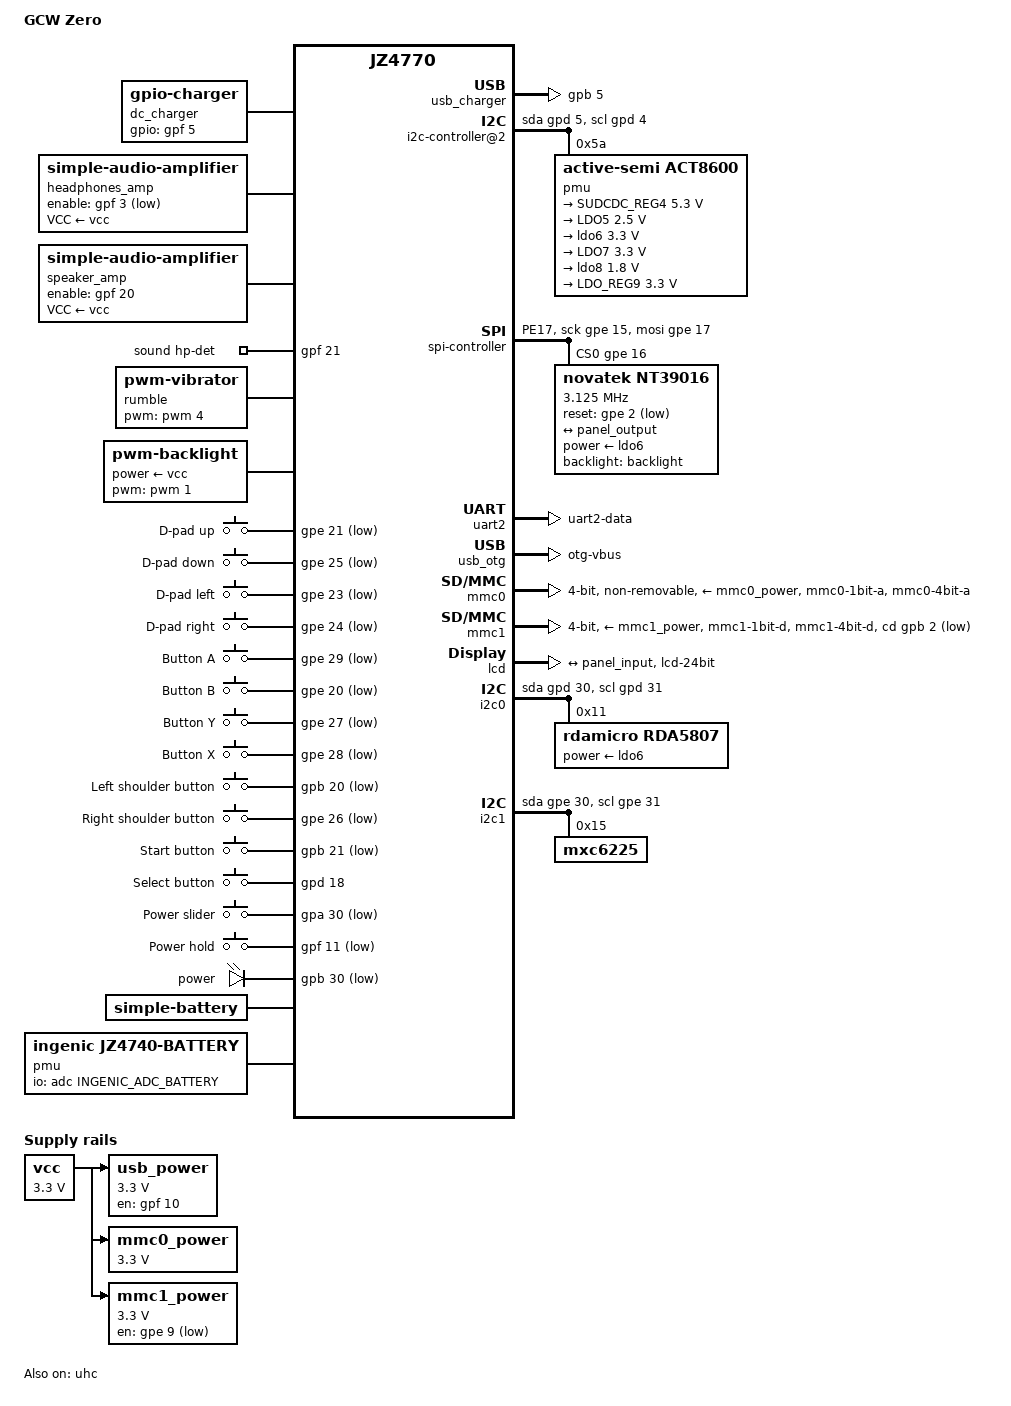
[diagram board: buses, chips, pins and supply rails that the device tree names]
// SPDX-License-Identifier: GPL-2.0
/dts-v1/;

#include "jz4770.dtsi"
#include <dt-bindings/clock/ingenic,tcu.h>

#include <dt-bindings/gpio/gpio.h>
#include <dt-bindings/iio/adc/ingenic,adc.h>
#include <dt-bindings/input/input.h>
#include <dt-bindings/pwm/pwm.h>
#include <dt-bindings/sound/ingenic,jz4770-codec.h>

/ {
	compatible = "gcw,zero", "ingenic,jz4770";
	model = "GCW Zero";

	aliases {
		serial0 = &uart0;
		serial1 = &uart1;
		serial2 = &uart2;
		serial3 = &uart3;
	};

	chosen {
		stdout-path = "serial2:57600n8";
	};

	board {
		compatible = "simple-bus";
		#address-cells = <1>;
		#size-cells = <1>;
		ranges;

		regulators {
			#address-cells = <1>;
			#size-cells = <1>;
			compatible = "simple-bus";
			ranges = <>;

			vcc: regulator@0 {
				compatible = "regulator-fixed";
				regulator-name = "vcc";

				regulator-min-microvolt = <3300000>;
				regulator-max-microvolt = <3300000>;
				regulator-always-on;
			};

			usb_power: regulator@1 {
				compatible = "regulator-fixed";
				regulator-name = "USB Power";
				gpio = <&gpf 10 0>;
				enable-active-high;

				regulator-min-microvolt = <3300000>;
				regulator-max-microvolt = <3300000>;
				vin-supply = <&vcc>;
			};

			mmc0_power: regulator@2 {
				compatible = "regulator-fixed";
				regulator-name = "mmc0_vcc";
				regulator-always-on;

				regulator-min-microvolt = <3300000>;
				regulator-max-microvolt = <3300000>;
				vin-supply = <&vcc>;
			};

			mmc1_power: regulator@3 {
				compatible = "regulator-fixed";
				regulator-name = "mmc1_vcc";
				gpio = <&gpe 9 0>;

				regulator-min-microvolt = <3300000>;
				regulator-max-microvolt = <3300000>;
				vin-supply = <&vcc>;
			};
		};

		usb_charger: usb {
			compatible = "gpio-charger";
			charger-type = "usb-sdp";
			gpios = <&gpb 5 GPIO_ACTIVE_HIGH>;
		};

		dc_charger: dc {
			compatible = "gpio-charger";
			charger-type = "mains";
			gpios = <&gpf 5 GPIO_ACTIVE_HIGH>;
		};

		headphones_amp: analog-amplifier@0 {
			compatible = "simple-audio-amplifier";
			enable-gpios = <&gpf 3 GPIO_ACTIVE_LOW>;
			enable-delay-ms = <50>; /* TODO */

			VCC-supply = <&vcc>;
			sound-name-prefix = "Headphones Amp";
		};

		speaker_amp: analog-amplifier@1 {
			compatible = "simple-audio-amplifier";
			enable-gpios = <&gpf 20 GPIO_ACTIVE_HIGH>;

			VCC-supply = <&vcc>;
			sound-name-prefix = "Speaker Amp";
		};

		sound {
			compatible = "simple-audio-card";

			simple-audio-card,name = "gcw0-audio";
			simple-audio-card,format = "i2s";

			simple-audio-card,widgets =
				"Speaker", "Speaker",
				"Headphone", "Headphones",
				"Line", "FM Radio",
				"Microphone", "Built-in Mic";
			simple-audio-card,routing =
				"Headphones Amp INL", "LHPOUT",
				"Headphones Amp INR", "RHPOUT",
				"Headphones", "Headphones Amp OUTL",
				"Headphones", "Headphones Amp OUTR",
				"Speaker Amp INL", "LOUT",
				"Speaker Amp INR", "ROUT",
				"Speaker", "Speaker Amp OUTL",
				"Speaker", "Speaker Amp OUTR",
				"LLINEIN", "FM Radio",
				"RLINEIN", "FM Radio",
				"MIC1P", "Mic Bias",
				"Built-in Mic", "Mic Bias";
			simple-audio-card,pin-switches = "Speaker", "Headphones";

			simple-audio-card,hp-det-gpio = <&gpf 21 GPIO_ACTIVE_HIGH>;
			simple-audio-card,aux-devs = <&speaker_amp>, <&headphones_amp>;

			simple-audio-card,bitclock-master = <&dai_codec>;
			simple-audio-card,frame-master = <&dai_codec>;

			dai_cpu: simple-audio-card,cpu {
				sound-dai = <&aic>;
			};

			dai_codec: simple-audio-card,codec {
				sound-dai = <&codec>;
			};
		};

		rumble {
			compatible = "pwm-vibrator";
			pwms = <&pwm 4 2000000 0>;
			pwm-names = "enable";

			pinctrl-names = "default";
			pinctrl-0 = <&pins_pwm4>;
		};

		backlight: backlight {
			compatible = "pwm-backlight";
			pwms = <&pwm 1 40000 0>;
			power-supply = <&vcc>;

			brightness-levels = <0 16 32 48 64 80 96 112 128 144 160 176 192 208 224 240 255>;
			default-brightness-level = <12>;

			pinctrl-names = "init", "sleep", "default";
			pinctrl-0 = <&pins_pwm1_sleep>;
			pinctrl-1 = <&pins_pwm1_sleep>;
			pinctrl-2 = <&pins_pwm1>;
		};

		gpio-keys {
			compatible = "gpio-keys";
			#address-cells = <1>;
			#size-cells = <0>;

			autorepeat;

			button@0 {
				label = "D-pad up";
				linux,code = <KEY_UP>;
				gpios = <&gpe 21 GPIO_ACTIVE_LOW>;
				debounce-interval = <10>;
			};

			button@1 {
				label = "D-pad down";
				linux,code = <KEY_DOWN>;
				gpios = <&gpe 25 GPIO_ACTIVE_LOW>;
				debounce-interval = <10>;
			};

			button@2 {
				label = "D-pad left";
				linux,code = <KEY_LEFT>;
				gpios = <&gpe 23 GPIO_ACTIVE_LOW>;
				debounce-interval = <10>;
			};

			button@3 {
				label = "D-pad right";
				linux,code = <KEY_RIGHT>;
				gpios = <&gpe 24 GPIO_ACTIVE_LOW>;
				debounce-interval = <10>;
			};

			button@4 {
				label = "Button A";
				linux,code = <KEY_LEFTCTRL>;
				gpios = <&gpe 29 GPIO_ACTIVE_LOW>;
				debounce-interval = <10>;
			};

			button@5 {
				label = "Button B";
				linux,code = <KEY_LEFTALT>;
				gpios = <&gpe 20 GPIO_ACTIVE_LOW>;
				debounce-interval = <10>;
			};

			button@6 {
				label = "Button Y";
				linux,code = <KEY_SPACE>;
				gpios = <&gpe 27 GPIO_ACTIVE_LOW>;
				debounce-interval = <10>;
			};

			button@7 {
				label = "Button X";
				linux,code = <KEY_LEFTSHIFT>;
				gpios = <&gpe 28 GPIO_ACTIVE_LOW>;
				debounce-interval = <10>;
			};

			button@8 {
				label = "Left shoulder button";
				linux,code = <KEY_TAB>;
				gpios = <&gpb 20 GPIO_ACTIVE_LOW>;
				debounce-interval = <10>;
			};

			button@9 {
				label = "Right shoulder button";
				linux,code = <KEY_BACKSPACE>;
				gpios = <&gpe 26 GPIO_ACTIVE_LOW>;
				debounce-interval = <10>;
			};

			button@10 {
				label = "Start button";
				linux,code = <KEY_ENTER>;
				gpios = <&gpb 21 GPIO_ACTIVE_LOW>;
				debounce-interval = <10>;
			};

			button@11 {
				label = "Select button";
				linux,code = <KEY_ESC>;
				/* This is the only button that is active high,
				 * since it doubles as BOOT_SEL1.
				 */
				gpios = <&gpd 18 GPIO_ACTIVE_HIGH>;
				debounce-interval = <10>;
			};

			button@12 {
				label = "Power slider";
				linux,code = <KEY_POWER>;
				gpios = <&gpa 30 GPIO_ACTIVE_LOW>;
				debounce-interval = <10>;
				gpio-key,wakeup;
			};

			button@13 {
				label = "Power hold";
				linux,code = <KEY_PAUSE>;
				gpios = <&gpf 11 GPIO_ACTIVE_LOW>;
				debounce-interval = <10>;
			};
		};

		i2c-controller@2 {
			compatible = "i2c-gpio";
			#address-cells = <1>;
			#size-cells = <0>;

			gpios = <&gpd 5 GPIO_ACTIVE_HIGH	/* sda */
				 &gpd 4 GPIO_ACTIVE_HIGH>;	/* scl */
			i2c-gpio,delay-us = <2>;		/* 250 kHz */

			pmu@5a {			/* power management unit */
				compatible = "active-semi,act8600";
				reg = <0x5a>;

				regulators {
					/* USB OTG */
					SUDCDC_REG4 {
						/*
						 * 5.3V instead of 5.0V to compensate for the
						 * voltage drop of a diode between the regulator
						 * and the connector.
						 */
						regulator-min-microvolt = <5300000>;
						regulator-max-microvolt = <5300000>;
						vin-supply = <&vcc>;
					};

					/* When this is off, there is no sound, but also no USB networking. */
					LDO5 {
						regulator-min-microvolt = <2500000>;
						regulator-max-microvolt = <2500000>;
						regulator-always-on;
						vin-supply = <&vcc>;
					};

					/* LCD panel and FM radio */
					ldo6: LDO6 {
						regulator-min-microvolt = <3300000>;
						regulator-max-microvolt = <3300000>;
						vin-supply = <&vcc>;
					};

					/* ??? */
					LDO7 {
						regulator-min-microvolt = <3300000>;
						regulator-max-microvolt = <3300000>;
						/*regulator-always-on;*/
						vin-supply = <&vcc>;
					};

					/*
					 * The colors on the LCD are wrong when this is off.
					 * Which is strange, since the LCD panel data sheet
					 * only mentions a 3.3V input.
					 */
					ldo8: LDO8 {
						regulator-min-microvolt = <1800000>;
						regulator-max-microvolt = <1800000>;
						vin-supply = <&vcc>;
					};

					/* RTC fixed 3.3V */
					LDO_REG9 {
						regulator-min-microvolt = <3300000>;
						regulator-max-microvolt = <3300000>;
						regulator-always-on;
						vin-supply = <&vcc>;
					};

					/* Unused fixed 1.2V */
					LDO_REG10 {
						vin-supply = <&vcc>;
					};
				};

				act8600_charger: CHARGER { };
			};
		};

		i2c4: i2c-controller@3 {
			compatible = "i2c-gpio";
			#address-cells = <1>;
			#size-cells = <0>;

			gpios = <&gpd 6 GPIO_ACTIVE_HIGH	/* sda */
				 &gpd 7 GPIO_ACTIVE_HIGH>;	/* scl */
			i2c-gpio,delay-us = <5>;		/* 100 kHz */

			/* the IT6610 is on this bus, but we don't have a driver for it yet */
			status = "disabled";
		};

		leds {
			compatible = "gpio-leds";

			power {
				gpios = <&gpb 30 GPIO_ACTIVE_LOW>;
				default-state = "on";
			};
		};

		spi-controller {
			compatible = "spi-gpio";
			#address-cells = <1>;
			#size-cells = <0>;

			gpio-sck = <&gpe 15 GPIO_ACTIVE_HIGH>;
			gpio-mosi = <&gpe 17 GPIO_ACTIVE_HIGH>;
			cs-gpios = <&gpe 16 GPIO_ACTIVE_HIGH>;

			pinctrl-names = "default";
			pinctrl-0 = <&pins_spi>;

			num-chipselects = <1>;

			nt39016@0 {
				compatible = "novatek,nt39016";
				reg = <0>;

				spi-max-frequency = <3125000>;
				spi-3wire;
				spi-cs-high;

				reset-gpios = <&gpe 2 GPIO_ACTIVE_LOW>;

				backlight = <&backlight>;
				power-supply = <&ldo6>, <&ldo8>;

				#address-cells = <1>;
				#size-cells = <0>;

				port@0 {
					#address-cells = <1>;
					#size-cells = <0>;

					panel_input: endpoint@0 {
						reg = <0>;
						remote-endpoint = <&panel_output>;
					};
				};
			};
		};

		battery: battery {
			compatible = "simple-battery";
			voltage-min-design-microvolt = <4600000>;
			voltage-max-design-microvolt = <5700000>;
		};

		pmu {
			compatible = "ingenic,jz4740-battery";
			io-channels = <&adc INGENIC_ADC_BATTERY>;
			io-channel-names = "battery";
			monitored-battery = <&battery>;

			charger = <&act8600_charger>;
			power-supplies = <&act8600_charger>, <&usb_charger>, <&dc_charger>;
		};
	};
};

&ext {
	clock-frequency = <12000000>;
};

&pinctrl {
	pwm1 {
		pins_pwm1_sleep: pwm1-sleep {
			pins = "PE1";
			output-low;
		};

		pins_pwm1: pwm1-default {
			function = "pwm1";
			groups = "pwm1";
			bias-disable;
		};
	};

	pins_pwm4: pwm4 {
		function = "pwm4";
		groups = "pwm4";
		bias-disable;
	};

	pins_spi: spi {
		pins = "PE17";
		bias-disable;
	};

	pins_lcd: lcd {
		function = "lcd";
		groups = "lcd-24bit";
	};

	pins_uart2: uart2 {
		function = "uart2";
		groups = "uart2-data";
	};

	pins_mmc0: mmc0 {
		function = "mmc0";
		groups = "mmc0-1bit-a", "mmc0-4bit-a";
	};

	pins_mmc1: mmc1 {
		function = "mmc1";
		groups = "mmc1-1bit-d", "mmc1-4bit-d";
	};

	pins_otg: otg {
		function = "otg";
		groups = "otg-vbus";
	};
};

&uart2 {
	pinctrl-names = "default";
	pinctrl-0 = <&pins_uart2>;

	status = "okay";
};

&cgu {
	/* Put high-speed peripherals under PLL1, such that we can change the
	 * PLL0 frequency on demand without having to suspend peripherals.
	 * We use a rate of 432 MHz, which is the least common multiple of
	 * 27 MHz (required by TV encoder) and 48 MHz (required by USB host).
	 */
	assigned-clocks =
		<&cgu JZ4770_CLK_PLL1>,
		<&cgu JZ4770_CLK_RTC>,
		<&cgu JZ4770_CLK_UHC>,
		<&cgu JZ4770_CLK_LPCLK_MUX>,
		<&cgu JZ4770_CLK_MMC0_MUX>,
		<&cgu JZ4770_CLK_MMC1_MUX>;
	assigned-clock-parents =
		<0>,
		<&cgu JZ4770_CLK_OSC32K>,
		<&cgu JZ4770_CLK_PLL1>,
		<&cgu JZ4770_CLK_PLL1>,
		<&cgu JZ4770_CLK_PLL1>,
		<&cgu JZ4770_CLK_PLL1>;
	assigned-clock-rates =
		<432000000>;
};

&uhc {
	/* The WiFi module is connected to the UHC. */
	status = "okay";
};

&tcu {
	/* 750 kHz for the system timer and clocksource */
	assigned-clocks = <&tcu TCU_CLK_TIMER0>, <&tcu TCU_CLK_TIMER2>,
			  <&tcu TCU_CLK_OST>, <&tcu TCU_CLK_WDT>;
	assigned-clock-parents = <0>, <0>, <0>, <&cgu JZ4770_CLK_RTC>;
	assigned-clock-rates = <750000>, <750000>, <12000000>;

	/* PWM1 is in use, so reserve channel #2 for the clocksource */
	ingenic,pwm-channels-mask = <0xfa>;
};

&usb_otg {
	status = "okay";

	pinctrl-names = "default";
	pinctrl-0 = <&pins_otg>;
};

&rtc {
	clocks = <&cgu JZ4770_CLK_RTC>;
	clock-names = "rtc";

	system-power-controller;
};

&mmc0 {
	bus-width = <4>;
	max-frequency = <48000000>;
	vmmc-supply = <&mmc0_power>;
	non-removable;

	pinctrl-names = "default";
	pinctrl-0 = <&pins_mmc0>;
};

&mmc1 {
	bus-width = <4>;
	max-frequency = <48000000>;
	cd-gpios = <&gpb 2 GPIO_ACTIVE_LOW>;
	vmmc-supply = <&mmc1_power>;

	pinctrl-names = "default";
	pinctrl-0 = <&pins_mmc1>;
};

&mmc2 {
	/* MMC2 is not used on the GCW0; disable it */
	status = "disabled";
};

&lcd {
	pinctrl-names = "default";
	pinctrl-0 = <&pins_lcd>;

	#address-cells = <1>;
	#size-cells = <0>;

	port@0 {
		#address-cells = <1>;
		#size-cells = <0>;

		panel_output: endpoint@0 {
			reg = <0>;
			remote-endpoint = <&panel_input>;
		};
	};
};

&i2c0 {
	compatible = "i2c-gpio";
	status = "okay";

	#address-cells = <1>;
	#size-cells = <0>;

	gpios = <&gpd 30 GPIO_ACTIVE_HIGH	/* sda */
		 &gpd 31 GPIO_ACTIVE_HIGH>;	/* scl */
	i2c-gpio,delay-us = <2>;		/* 250 kHz */

	rda5807@11 {				/* FM radio receiver */
		compatible = "rdamicro,rda5807";
		reg = <0x11>;
		lnan;
		lnap;
		lna-current = <2500>;
		analog-out;

		power-supply = <&ldo6>;
	};
};

&i2c1 {
	compatible = "i2c-gpio";
	status = "okay";

	#address-cells = <1>;
	#size-cells = <0>;

	gpios = <&gpe 30 GPIO_ACTIVE_HIGH	/* sda */
		 &gpe 31 GPIO_ACTIVE_HIGH>;	/* scl */
	i2c-gpio,delay-us = <2>;		/* 250 kHz */

	mxc6225@15 {				/* g-sensor */
		compatible = "mxc6225";
		reg = <0x15>;
	};
};
